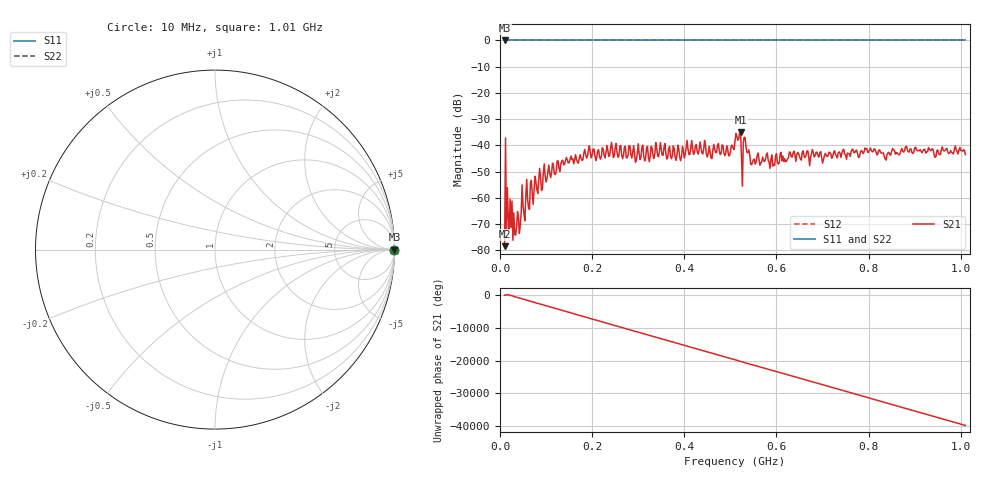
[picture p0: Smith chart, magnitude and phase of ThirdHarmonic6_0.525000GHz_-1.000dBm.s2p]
! 8/15/2025 4:15:06 PM
! C:\ANRITSUVNA\TEMP\TEMP.S2P
! CHANNEL.1
! TR.MEASUREMENT
! RAW.DATA
! RF.CORRECTION.OFF
! AVERAGING.OFF
! IF.BANDWIDTH: 5KHZ
! SWEEPTYPE:  FREQ.SWEEP(Linear)
! Reference Plane Port Info
! PORT:  PORT1  PORT2
! DISTANCE:  0  m  0  m
! TIME:  0  s  0  s
! PHASE.OFFSET:  0  deg.  0  deg.
! LOSS:  0  dB  0  dB
! REF.LOSS:  0  dB  0  dB
! REF.FREQ:  0  Hz  0  Hz
! Power Info
! POWER:  -20  dBm  -20  dBm
! EFF.POWER:  -20  dBm  -20  dBm
! SOURCE.ATTEN:  0  dB  0  dB
! TEST.ATTEN:  0  dB  0  dB
# GHZ S RI R 50.0
! FREQ.GHZ  S11RE  S11IM  S21RE  S21IM  S12RE  S12IM  S22RE  S22IM
!; PortSelection: Port_12
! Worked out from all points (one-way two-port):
!   501 points, 10 MHz to 1.01 GHz, reference 50 ohm
!   highest |S21| = -34.94 dB at 522 MHz (marker M1); lowest = -78.5 dB at 10 MHz (marker M2)
!   lowest |S11| = 0.0 dB at 10 MHz (marker M3)
!   |S11| at or under -10 dB: nowhere
!   |S22| runs from 0.0 to 0.0 dB; largest |S21 - S12| = 1
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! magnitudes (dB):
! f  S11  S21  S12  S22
! 10 MHz  0.0  -78.5  0.0  0.0
! 12 MHz  0.0  -37.2  0.0  0.0
! 16 MHz  0.0  -56.1  0.0  0.0
! 18 MHz  0.0  -67.5  0.0  0.0
! 26 MHz  0.0  -61.3  0.0  0.0
! 32 MHz  0.0  -74.1  0.0  0.0
! 62 MHz  0.0  -63.8  0.0  0.0
! 98 MHz  0.0  -51.8  0.0  0.0
! 178 MHz  0.0  -45.8  0.0  0.0
! 240 MHz  0.0  -41.1  0.0  0.0
! 344 MHz  0.0  -44.4  0.0  0.0
! 494 MHz  0.0  -41.3  0.0  0.0
! 510 MHz  0.0  -38.3  0.0  0.0
! 518 MHz  0.0  -37.5  0.0  0.0
! 522 MHz  0.0  -34.9  0.0  0.0
! 528 MHz  0.0  -38.9  0.0  0.0
! 532 MHz  0.0  -37.1  0.0  0.0
! 548 MHz  0.0  -46.5  0.0  0.0
! 678 MHz  0.0  -41.6  0.0  0.0
! 844 MHz  0.0  -42.7  0.0  0.0
! 882 MHz  0.0  -40.4  0.0  0.0
! 1.01 GHz  0.0  -43.6  0.0  0.0
